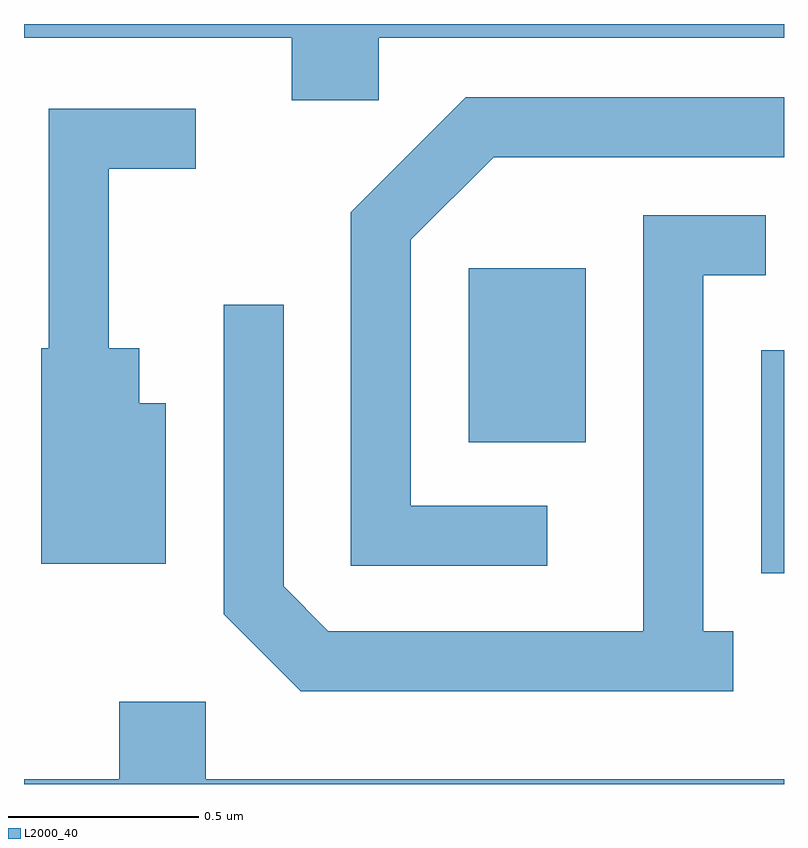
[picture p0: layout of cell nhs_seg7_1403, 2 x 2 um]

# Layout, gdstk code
import gdstk
lib = gdstk.Library(unit=1e-6, precision=1e-09)
def R(c, l, rs):  # rectangles x0, y0, x1, y1
    for r in rs: c.add(gdstk.rectangle(r[:2], r[2:], *l))
def P(c, l, *ps):  # polygons
    for p in ps: c.add(gdstk.Polygon(p, *l))
L2000_40 = (2000, 40)

nhs_seg7_1403 = lib.new_cell('nhs_seg7_1403')
R(nhs_seg7_1403, L2000_40, [(197.551,1701.806,197.611,1702.393), (196.781,1702.151,197.089,1702.609)])
P(nhs_seg7_1403, L2000_40, [(196.544,1703.216),(197.611,1703.216),(197.611,1703.252),(195.611,1703.252),(195.611,1703.216),(196.316,1703.216),(196.316,1703.051),(196.544,1703.051)],
  [(196.988,1701.984),(196.629,1701.984),(196.629,1702.684),(196.847,1702.901),(197.611,1702.901),(197.611,1703.059),(196.774,1703.059),(196.471,1702.757),(196.471,1701.826),(196.988,1701.826)],
  [(195.984,1702.254),(195.914,1702.254),(195.914,1702.399),(195.834,1702.399),(195.834,1702.871),(196.063,1702.871),(196.063,1703.029),(195.676,1703.029),(195.676,1702.399),(195.656,1702.399),(195.656,1701.831),(195.984,1701.831)],
  [(197.478,1701.654),(197.399,1701.654),(197.399,1702.591),(197.563,1702.591),(197.563,1702.749),(197.241,1702.749),(197.241,1701.654),(196.412,1701.654),(196.294,1701.772),(196.294,1702.513),(196.136,1702.513),(196.136,1701.699),(196.339,1701.496),(197.478,1701.496)],
  [(197.611,1701.264),(196.089,1701.264),(196.089,1701.469),(195.861,1701.469),(195.861,1701.264),(195.611,1701.264),(195.611,1701.252),(197.611,1701.252)])

lib.write_gds('nhs_seg7_1403.gds')
